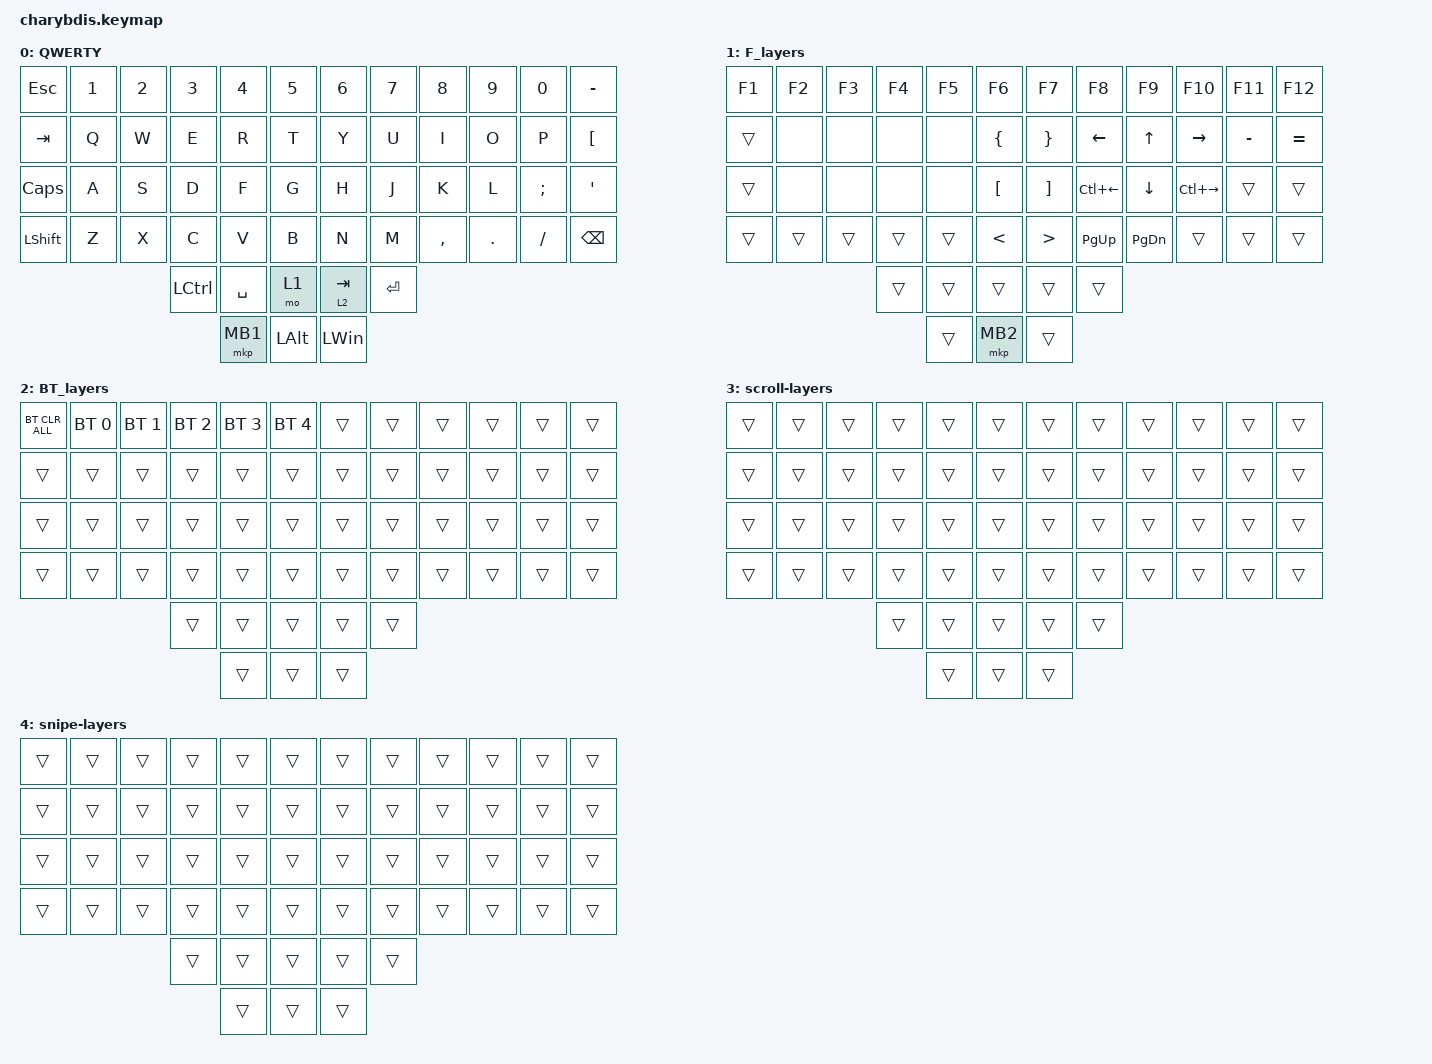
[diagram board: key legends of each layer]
#include <behaviors.dtsi>
#include <dt-bindings/zmk/bt.h>
#include <dt-bindings/zmk/keys.h>
#include <dt-bindings/zmk/pointing.h>

&lt {
    tapping-term-ms = <200>;
    flavor = "balanced";
    quick-tap-ms = <150>;
};

/ {
    combos {
        compatible = "zmk,combos";

        MiddleClick {
            bindings = <&mkp MB3>;
            key-positions = <53 54>;
        };
    };

    keymap {
        compatible = "zmk,keymap";

        QWERTY {
            bindings = <
&kp ESC         &kp N1  &kp N2  &kp N3            &kp N4     &kp N5          &kp N6        &kp N7     &kp N8     &kp N9   &kp N0    &kp MINUS
&kp TAB         &kp Q   &kp W   &kp E             &kp R      &kp T           &kp Y         &kp U      &kp I      &kp O    &kp P     &kp LEFT_BRACKET
&kp CAPSLOCK    &kp A   &kp S   &kp D             &kp F      &kp G           &kp H         &kp J      &kp K      &kp L    &kp SEMI  &kp SQT
&kp LEFT_SHIFT  &kp Z   &kp X   &kp C             &kp V      &kp B           &kp N         &kp M      &kp COMMA  &kp DOT  &kp FSLH  &kp BACKSPACE
                                &kp LEFT_CONTROL  &kp SPACE  &mo 1           &lt 2 TAB     &kp ENTER
                                                  &mkp MB1   &kp LEFT_ALT    &kp LEFT_WIN
            >;
        };

        F_layers {
            bindings = <
&kp F1  &kp F2  &kp F3  &kp F4  &kp F5  &kp F6              &kp F7             &kp F8          &kp F9          &kp F10        &kp F11    &kp F12
&trans  &none   &none   &none   &none   &kp LEFT_BRACE      &kp RIGHT_BRACE    &kp LEFT_ARROW  &kp UP_ARROW    &kp RIGHT      &kp MINUS  &kp EQUAL
&trans  &none   &none   &none   &none   &kp LEFT_BRACKET    &kp RIGHT_BRACKET  &kp LC(LEFT)    &kp DOWN_ARROW  &kp LC(RIGHT)  &trans     &trans
&trans  &trans  &trans  &trans  &trans  &kp LESS_THAN       &kp GREATER_THAN   &kp PAGE_UP     &kp PAGE_DOWN   &trans         &trans     &trans
                        &trans  &trans  &trans              &trans             &trans
                                &trans  &mkp MB2            &trans
            >;
        };

        BT_layers {
            bindings = <
&bt BT_CLR_ALL  &bt BT_SEL 0  &bt BT_SEL 1  &bt BT_SEL 2  &bt BT_SEL 3  &bt BT_SEL 4    &trans  &trans  &trans  &trans  &trans  &trans
&trans          &trans        &trans        &trans        &trans        &trans          &trans  &trans  &trans  &trans  &trans  &trans
&trans          &trans        &trans        &trans        &trans        &trans          &trans  &trans  &trans  &trans  &trans  &trans
&trans          &trans        &trans        &trans        &trans        &trans          &trans  &trans  &trans  &trans  &trans  &trans
                                            &trans        &trans        &trans          &trans  &trans
                                                          &trans        &trans          &trans
            >;
        };

        scroll-layers {
            bindings = <
&trans  &trans  &trans  &trans  &trans  &trans    &trans  &trans  &trans  &trans  &trans  &trans
&trans  &trans  &trans  &trans  &trans  &trans    &trans  &trans  &trans  &trans  &trans  &trans
&trans  &trans  &trans  &trans  &trans  &trans    &trans  &trans  &trans  &trans  &trans  &trans
&trans  &trans  &trans  &trans  &trans  &trans    &trans  &trans  &trans  &trans  &trans  &trans
                        &trans  &trans  &trans    &trans  &trans
                                &trans  &trans    &trans
            >;
        };

        snipe-layers {
            bindings = <
&trans  &trans  &trans  &trans  &trans  &trans    &trans  &trans  &trans  &trans  &trans  &trans
&trans  &trans  &trans  &trans  &trans  &trans    &trans  &trans  &trans  &trans  &trans  &trans
&trans  &trans  &trans  &trans  &trans  &trans    &trans  &trans  &trans  &trans  &trans  &trans
&trans  &trans  &trans  &trans  &trans  &trans    &trans  &trans  &trans  &trans  &trans  &trans
                        &trans  &trans  &trans    &trans  &trans
                                &trans  &trans    &trans
            >;
        };
    };
};
